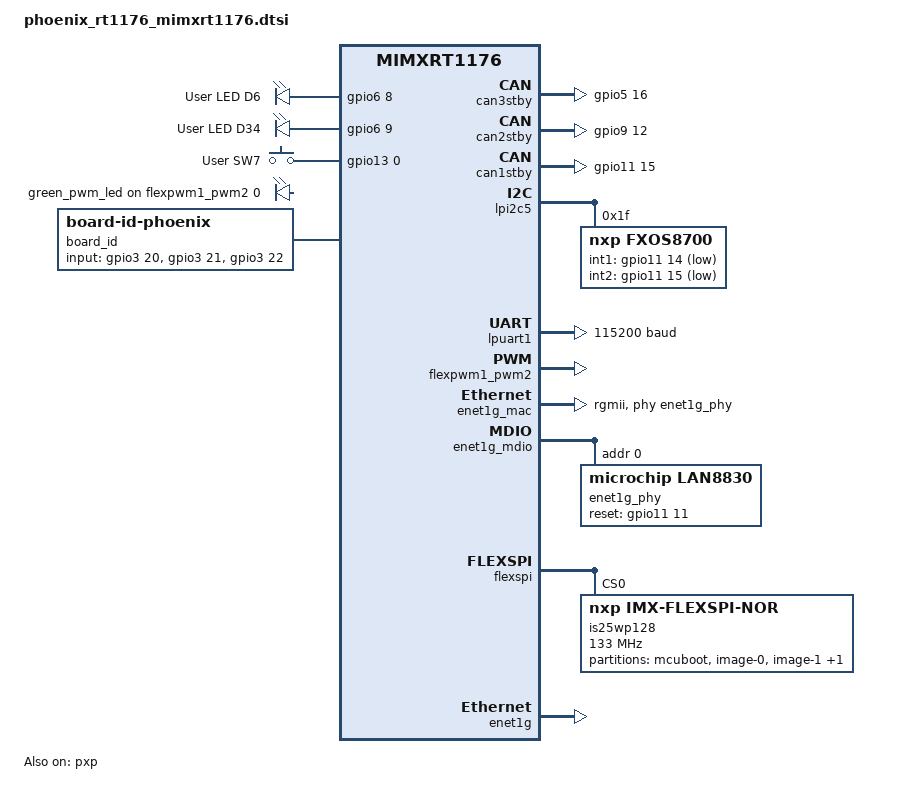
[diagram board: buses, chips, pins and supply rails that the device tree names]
/*
 * Copyright 2021,2023 NXP
 *
 * SPDX-License-Identifier: Apache-2.0
 */

#include "phoenix_rt1176_mimxrt1176-pinctrl.dtsi"
#include <nxp/nxp_rt1170.dtsi>
#include <zephyr/dt-bindings/input/input-event-codes.h>

/ {
	aliases {
		led0 = &blue_led;
		led1 = &orange_led;
		sw0 = &user_button;
		magn0 = &fxos8700;
		accel0 = &fxos8700;
		sdhc0 = &usdhc1;
		pwm-led0 = &green_pwm_led;
		can3st = &can3stby;
		can2st = &can2stby;
		can1st = &can1stby;
	};

	leds {
		compatible = "gpio-leds";
		blue_led: led-1 {
			gpios = <&gpio6 8 GPIO_ACTIVE_HIGH>;
			label = "User LED D6";
		};

		orange_led: led-2 {
			gpios = <&gpio6 9 GPIO_ACTIVE_HIGH>;
			label = "User LED D34";
		};
		can3stby:  led-3 {
			/* Can bus standby set to 0 to enable driver */
			 gpios = <&gpio5 16 GPIO_ACTIVE_HIGH>; 
			status = "okay";
		};

		can2stby:  led-4 {
			/* Can bus standby set to 0 to enable driver */
			 gpios = <&gpio9 12 GPIO_ACTIVE_HIGH>; 
			status = "okay";
		};

		can1stby:  led-5 {
			/* Can bus standby set to 0 to enable driver */
			 gpios = <&gpio11 15 GPIO_ACTIVE_HIGH>; 
			status = "okay";
		};
	};

	gpio_keys {
		compatible = "gpio-keys";
		user_button: button-1 {
			label = "User SW7";
			gpios = <&gpio13 0 GPIO_ACTIVE_HIGH>;
			zephyr,code = <INPUT_KEY_0>;
		};
	};

	
	pwmleds {
		compatible = "pwm-leds";

		green_pwm_led: green_pwm_led {
			pwms = <&flexpwm1_pwm2 0 PWM_MSEC(20) PWM_POLARITY_NORMAL>;
		};
	};

	boardid {
		compatible = "board-id";
		boardida {
			
			/* using built-in LED pin for demonstration */
			gpios = <&gpio3 20 GPIO_ACTIVE_HIGH //BRD_ID0
					&gpio3 21 GPIO_ACTIVE_HIGH //BRD_ID1
					&gpio3 22 GPIO_ACTIVE_HIGH>; //BRD_ID2
		};
	};
};

&lpi2c5 {
	status = "okay";
	pinctrl-0 = <&pinmux_lpi2c5>;
	pinctrl-names = "default";

	fxos8700: fxos8700@1f {
		compatible = "nxp,fxos8700";
		reg = <0x1f>;

		/* Two zero ohm resistors (R256 and R270) isolate sensor
		 * interrupt gpios from the soc and are unpopulated by default.
		 * Note that if you populate them, they conflict with camera and
		 * ethernet PHY reset signals.
		 */
		int1-gpios = <&gpio11 14 GPIO_ACTIVE_LOW>;
		int2-gpios = <&gpio11 15 GPIO_ACTIVE_LOW>;
	};
};

&lpuart1 {
	status = "okay";
	pinctrl-0 = <&pinmux_lpuart1>;
	pinctrl-1 = <&pinmux_lpuart1_sleep>;
	pinctrl-names = "default", "sleep";
	current-speed = <115200>;
};

&lpuart2 {
	pinctrl-0 = <&pinmux_lpuart2>;
	pinctrl-1 = <&pinmux_lpuart2_sleep>;
	pinctrl-names = "default", "sleep";
};

&user_button {
	status = "okay";
};

&blue_led {
	status = "okay";
};

&flexpwm1_pwm2 {
	status = "okay";
	pinctrl-0 = <&pinmux_flexpwm1>;
	pinctrl-names = "default";
	clocks = < &ccm 0x1500 0x0 0x0 >;
};

&enet1g_mac {
	status = "disabled";
	pinctrl-0 = <&pinmux_enet1g>;
	pinctrl-names = "default";
	phy-handle = <&enet1g_phy>;
	phy-connection-type = "rgmii";
	zephyr,random-mac-address;
};

&enet1g_mdio {
	status = "disabled";
	pinctrl-0 = <&pinmux_enet1g_mdio>;
	pinctrl-names = "default";
	enet1g_phy: phy@0 {
		compatible = "microchip,lan8830";
		reg = <0>;
		status = "disabled";
		reset-gpios = <&gpio11 11 GPIO_ACTIVE_HIGH>;
	};
};

&enet1g_ptp_clock {
	status = "disabled";
	pinctrl-0 = <&pinmux_enet1g_ptp>;
	pinctrl-names = "default";
};

&csi {
	pinctrl-0 = <&pinmux_csi>;
	pinctrl-names = "default";
};

&lpi2c6 {
	pinctrl-0 = <&pinmux_lpi2c6>;
	pinctrl-names = "default";
};

&flexcan3 {
	pinctrl-0 = <&pinmux_flexcan3>;
	pinctrl-names = "default";
};

&flexcan2 {
	pinctrl-0 = <&pinmux_flexcan2>;
	pinctrl-names = "default";
};

&flexcan1 {
	pinctrl-0 = <&pinmux_flexcan1>;
	pinctrl-names = "default";
};

&lcdif {
	pinctrl-0 = <&pinmux_lcdif>;
	pinctrl-names = "default";
};

&lpi2c1 {
	pinctrl-0 =<&pinmux_lpi2c1>;
	pinctrl-names = "default";
};

&lpspi1 {
	pinctrl-0 = <&pinmux_lpspi1>;
	pinctrl-names = "default";
};

&lpuart2 {
	pinctrl-0 = <&pinmux_lpuart2>;
	pinctrl-1 = <&pinmux_lpuart2_sleep>;
	pinctrl-names = "default", "sleep";
};

&sai1 {
	pinctrl-0 = <&pinmux_sai1>;
	pinctrl-names = "default";
};

&lpadc0 {
	pinctrl-0 = <&pinmux_lpadc0>;
	pinctrl-names = "default";
};

&flexspi {
	pinctrl-0 = <&pinmux_flexspi1>;
	pinctrl-names = "default";
};

&usdhc1 {
	pinctrl-0 = <&pinmux_usdhc1>;
	pinctrl-1 = <&pinmux_usdhc1_dat3_nopull>;
	pinctrl-names = "default", "nopull";
};

&flexspi {
	status = "okay";
	ahb-prefetch;
	ahb-read-addr-opt;
	rx-clock-source = <1>;
	reg = <0x400cc000 0x4000>, <0x30000000 DT_SIZE_M(16)>;
	is25wp128: is25wp128@0 {
		compatible = "nxp,imx-flexspi-nor";
		size = <DT_SIZE_M(16*8)>;
		reg = <0>;
		spi-max-frequency = <133000000>;
		status = "okay";
		jedec-id = [9d 70 17];
		erase-block-size = <4096>;
		write-block-size = <1>;

		partitions {
			compatible = "fixed-partitions";
			#address-cells = <1>;
			#size-cells = <1>;

			boot_partition: partition@0 {
				label = "mcuboot";
				reg = <0x00000000 DT_SIZE_K(128)>;
			};
			/* The MCUBoot swap-move algorithm uses the last 3 sectors
			 * of the primary slot0 for swap status and move.
			 */
			slot0_partition: partition@20000 {
				label = "image-0";
				reg = <0x00020000 (DT_SIZE_M(7) + DT_SIZE_K(12))>;
			};
			slot1_partition: partition@723000 {
				label = "image-1";
				reg = <0x00723000 DT_SIZE_M(7)>;
			};
			storage_partition: partition@E23000 {
				label = "storage";
				reg = <0x00E23000 (DT_SIZE_M(2) - DT_SIZE_K(140))>;
			};
		};
	};
};

&pxp {
	status = "okay";
};

/ {
	soc {
		/delete-node/ ethernet@40424000;
	};
};

&enet1g {
	status = "okay";
};

&enet1g_mac {
	status = "okay";
};

&enet1g_mdio {
	status = "okay";
	enet1g_phy: phy@0 {
		status = "okay";
	};
};

&enet1g_ptp_clock {
	status = "okay";
};

&pinctrl {
	/delete-node/ pinmux_enet;
	/delete-node/ pinmux_enet_mdio;
	/delete-node/ pinmux_ptp;
};

/ {
	board_id: board-id {
		compatible = "board-id-phoenix";
		input-gpios = <&gpio3 20 GPIO_ACTIVE_HIGH
						&gpio3 21 GPIO_ACTIVE_HIGH
						&gpio3 22 GPIO_ACTIVE_HIGH>;
		
	};

	tracker_sync: tracker_sync {
		compatible = "tracker-sync-sim";
		simulated-rate-ms = <1000>;
	};

};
